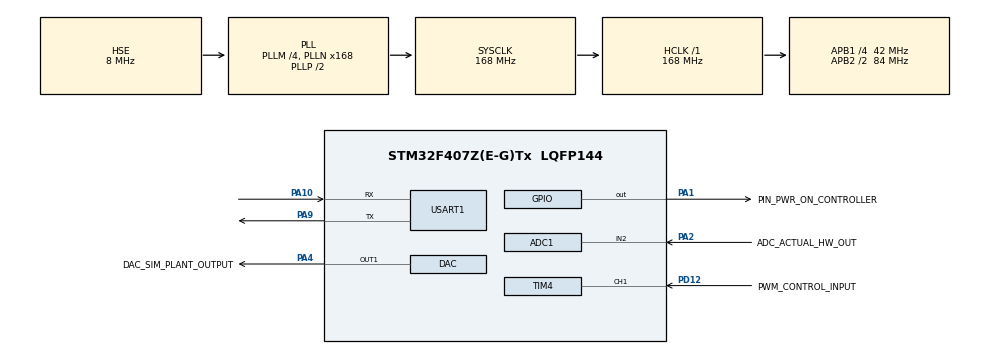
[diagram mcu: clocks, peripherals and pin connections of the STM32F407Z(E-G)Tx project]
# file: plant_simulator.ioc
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ADC1.Channel-0\#ChannelRegularConversion=ADC_CHANNEL_2
ADC1.ClockPrescaler=ADC_CLOCK_SYNC_PCLK_DIV8
ADC1.ContinuousConvMode=ENABLE
ADC1.DMAContinuousRequests=ENABLE
ADC1.NbrOfConversionFlag=1
ADC1.Rank-0\#ChannelRegularConversion=1
ADC1.SamplingTime-0\#ChannelRegularConversion=ADC_SAMPLETIME_56CYCLES
ADC1.master=1
DAC.DAC_Trigger=DAC_TRIGGER_T6_TRGO
Dma.ADC1.1.Direction=DMA_PERIPH_TO_MEMORY
Dma.ADC1.1.FIFOMode=DMA_FIFOMODE_DISABLE
Dma.ADC1.1.Instance=DMA2_Stream0
Dma.ADC1.1.MemDataAlignment=DMA_MDATAALIGN_HALFWORD
Dma.ADC1.1.MemInc=DMA_MINC_ENABLE
Dma.ADC1.1.Mode=DMA_CIRCULAR
Dma.ADC1.1.PeriphDataAlignment=DMA_PDATAALIGN_HALFWORD
Dma.ADC1.1.PeriphInc=DMA_PINC_DISABLE
Dma.ADC1.1.Priority=DMA_PRIORITY_LOW
Dma.DAC1.2.Direction=DMA_MEMORY_TO_PERIPH
Dma.DAC1.2.FIFOMode=DMA_FIFOMODE_DISABLE
Dma.DAC1.2.Instance=DMA1_Stream5
Dma.DAC1.2.MemDataAlignment=DMA_MDATAALIGN_HALFWORD
Dma.DAC1.2.MemInc=DMA_MINC_ENABLE
Dma.DAC1.2.Mode=DMA_CIRCULAR
Dma.DAC1.2.PeriphDataAlignment=DMA_PDATAALIGN_HALFWORD
Dma.DAC1.2.PeriphInc=DMA_PINC_DISABLE
Dma.DAC1.2.Priority=DMA_PRIORITY_LOW
Dma.Request0=TIM4_CH2
Dma.Request1=ADC1
Dma.Request2=DAC1
Dma.Request3=USART1_RX
Dma.Request4=USART1_TX
Dma.TIM4_CH2.0.Direction=DMA_PERIPH_TO_MEMORY
Dma.TIM4_CH2.0.FIFOMode=DMA_FIFOMODE_DISABLE
Dma.TIM4_CH2.0.Instance=DMA1_Stream3
Dma.TIM4_CH2.0.MemDataAlignment=DMA_MDATAALIGN_HALFWORD
Dma.TIM4_CH2.0.MemInc=DMA_MINC_ENABLE
Dma.TIM4_CH2.0.Mode=DMA_CIRCULAR
Dma.TIM4_CH2.0.PeriphDataAlignment=DMA_PDATAALIGN_HALFWORD
Dma.TIM4_CH2.0.PeriphInc=DMA_PINC_DISABLE
Dma.TIM4_CH2.0.Priority=DMA_PRIORITY_LOW
Dma.USART1_RX.3.Direction=DMA_PERIPH_TO_MEMORY
Dma.USART1_RX.3.FIFOMode=DMA_FIFOMODE_DISABLE
Dma.USART1_RX.3.Instance=DMA2_Stream2
Dma.USART1_RX.3.MemDataAlignment=DMA_MDATAALIGN_BYTE
Dma.USART1_RX.3.MemInc=DMA_MINC_ENABLE
Dma.USART1_RX.3.Mode=DMA_CIRCULAR
Dma.USART1_RX.3.PeriphDataAlignment=DMA_PDATAALIGN_BYTE
Dma.USART1_RX.3.PeriphInc=DMA_PINC_DISABLE
Dma.USART1_RX.3.Priority=DMA_PRIORITY_LOW
Dma.USART1_TX.4.Direction=DMA_MEMORY_TO_PERIPH
Dma.USART1_TX.4.FIFOMode=DMA_FIFOMODE_DISABLE
Dma.USART1_TX.4.Instance=DMA2_Stream7
Dma.USART1_TX.4.MemDataAlignment=DMA_MDATAALIGN_BYTE
Dma.USART1_TX.4.MemInc=DMA_MINC_ENABLE
Dma.USART1_TX.4.Mode=DMA_NORMAL
Dma.USART1_TX.4.PeriphDataAlignment=DMA_PDATAALIGN_BYTE
Dma.USART1_TX.4.PeriphInc=DMA_PINC_DISABLE
Dma.USART1_TX.4.Priority=DMA_PRIORITY_LOW
Mcu.Family=STM32F4
Mcu.Name=STM32F407Z(E-G)Tx
Mcu.Package=LQFP144
Mcu.UserConstants=PWM_COUNTER_PERIOD,1000-1
NVIC.DMA1_Stream3_IRQn=true\:0\:0\:false\:false\:true\:false\:true\:true
NVIC.DMA1_Stream5_IRQn=true\:0\:0\:false\:false\:true\:false\:true\:true
NVIC.DMA2_Stream0_IRQn=true\:0\:0\:false\:false\:true\:false\:true\:true
NVIC.DMA2_Stream2_IRQn=true\:0\:0\:false\:false\:true\:false\:true\:true
NVIC.DMA2_Stream7_IRQn=true\:0\:0\:false\:false\:true\:false\:true\:true
NVIC.PriorityGroup=NVIC_PRIORITYGROUP_4
NVIC.TIM2_IRQn=true\:0\:0\:false\:false\:true\:true\:true\:true
NVIC.USART1_IRQn=true\:0\:0\:false\:false\:true\:true\:true\:true
PA1.GPIO_Label=PIN_PWR_ON_CONTROLLER
PA1.GPIO_ModeDefaultOutputPP=GPIO_MODE_OUTPUT_OD
PA1.GPIO_PuPd=GPIO_NOPULL
PA1.Signal=GPIO_Output
PA10.Mode=Asynchronous
PA10.Signal=USART1_RX
PA13.Mode=Serial_Wire
PA13.Signal=SYS_JTMS-SWDIO
PA14.Mode=Serial_Wire
PA14.Signal=SYS_JTCK-SWCLK
PA2.GPIO_Label=ADC_ACTUAL_HW_OUT
PA2.Signal=ADCx_IN2
PA4.GPIO_Label=DAC_SIM_PLANT_OUTPUT
PA4.Signal=COMP_DAC1_group
PA9.Mode=Asynchronous
PA9.Signal=USART1_TX
PD12.GPIO_Label=PWM_CONTROL_INPUT
PD12.Signal=S_TIM4_CH1
PH0-OSC_IN.Mode=HSE-External-Oscillator
PH0-OSC_IN.Signal=RCC_OSC_IN
PH1-OSC_OUT.Mode=HSE-External-Oscillator
PH1-OSC_OUT.Signal=RCC_OSC_OUT
ProjectManager.HeapSize=0x200
ProjectManager.StackSize=0x400
ProjectManager.TargetToolchain=STM32CubeIDE
RCC.48MHZClocksFreq_Value=84000000
RCC.AHBFreq_Value=168000000
RCC.APB1CLKDivider=RCC_HCLK_DIV4
RCC.APB1Freq_Value=42000000
RCC.APB1TimFreq_Value=84000000
RCC.APB2CLKDivider=RCC_HCLK_DIV2
RCC.APB2Freq_Value=84000000
RCC.APB2TimFreq_Value=168000000
RCC.CortexFreq_Value=168000000
RCC.HCLKFreq_Value=168000000
RCC.HSE_VALUE=8000000
RCC.HSI_VALUE=16000000
RCC.LSE_VALUE=32768
RCC.PLLM=4
RCC.PLLN=168
RCC.PLLSourceVirtual=RCC_PLLSOURCE_HSE
RCC.SYSCLKFreq_VALUE=168000000
RCC.SYSCLKSource=RCC_SYSCLKSOURCE_PLLCLK
RCC.VCOOutputFreq_Value=336000000
SH.ADCx_IN2.0=ADC1_IN2,IN2
SH.COMP_DAC1_group.0=DAC_OUT1,DAC_OUT1
SH.S_TIM4_CH1.0=TIM4_CH1,TriggerSource_TI1FP1
SH.S_TIM4_CH1.1=TIM4_CH1,Input_Capture1_from_TI1
TIM2.Period=25000-1
TIM2.Prescaler=84-1
TIM4.Channel-Input_Capture1_from_TI1=TIM_CHANNEL_1
TIM4.Channel-Input_Capture2_from_TI1_63=TIM_CHANNEL_2
TIM4.ICPolarity_CH2=TIM_INPUTCHANNELPOLARITY_FALLING
TIM4.Prescaler=84-1
TIM6.Period=100-1
TIM6.Prescaler=16-1
TIM6.TIM_MasterOutputTrigger=TIM_TRGO_UPDATE
USART1.VirtualMode=VM_ASYNC
VP_TIM2_VS_ClockSourceINT.Mode=Internal
VP_TIM4_VS_ClockSourceINT.Mode=Internal
VP_TIM4_VS_ControllerModeReset.Mode=Reset Mode
VP_TIM4_VS_indirect_ch1.Mode=Input_Capture2_from_TI1_63
VP_TIM6_VS_ClockSourceINT.Mode=Enable_Timer
board=custom

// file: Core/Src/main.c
/* USER CODE BEGIN Header */
/**
  ******************************************************************************
  * @file           : main.c
  * @brief          : Main program body
  ******************************************************************************
  * @attention
  *
  * Copyright (c) 2025 STMicroelectronics.
  * All rights reserved.
  *
  * This software is licensed under terms that can be found in the LICENSE file
  * in the root directory of this software component.
  * If no LICENSE file comes with this software, it is provided AS-IS.
  *
  ******************************************************************************
  */
/* USER CODE END Header */
#include "main.h"

/* USER CODE BEGIN Includes */
#include "string.h"
#include "PlantModel.h"
/* USER CODE END Includes */

/* USER CODE BEGIN PTD */
#define UART_BUF_SIZE 4
#define UART_NUM_DATA 2
#define DMA_UART_TX_BUF_SIZE (UART_NUM_DATA*UART_BUF_SIZE + 2)

typedef union {
  float single;
  uint8_t bytes[UART_BUF_SIZE];
} Float_t;
/* USER CODE END PTD */

/* USER CODE BEGIN PD */
#define ADC_DMA_BUF_SIZE 1
#define VOLT_REF 3.33f
#define VOLT_TO_DATA12  (0xfff/VOLT_REF)
#define DATA12_TO_VOLT (VOLT_REF/0xfff)
#define PWM_DUTY_TO_VOLT (VOLT_REF / (PWM_COUNTER_PERIOD))
/* USER CODE END PD */

ADC_HandleTypeDef hadc1;
DMA_HandleTypeDef hdma_adc1;

DAC_HandleTypeDef hdac;
DMA_HandleTypeDef hdma_dac1;

TIM_HandleTypeDef htim2;
TIM_HandleTypeDef htim4;
TIM_HandleTypeDef htim6;
DMA_HandleTypeDef hdma_tim4_ch2;

UART_HandleTypeDef huart1;
DMA_HandleTypeDef hdma_usart1_rx;
DMA_HandleTypeDef hdma_usart1_tx;

/* USER CODE BEGIN PV */
uint16_t dma_pwm_in_duty = 0;

uint16_t dma_dac_analog_sensor = 0;
uint16_t dma_adc_actual_hw_out = 0;

uint8_t dma_uart_tx_buf[DMA_UART_TX_BUF_SIZE] = { 'S', 0, 0, 0, 0, 0, 0, 0, 0, '\n' };
uint8_t uart_buf[UART_BUF_SIZE] = { 0 };
int uart_rx_flag = 0;

Float_t sim_serial_input1; // HIL Plant Model output
Float_t sim_serial_input2; // Actual Hardware output
Float_t sim_serial_output;
/* USER CODE END PV */

void SystemClock_Config(void);
static void MX_GPIO_Init(void);
static void MX_DMA_Init(void);
static void MX_TIM2_Init(void);
static void MX_TIM4_Init(void);
static void MX_ADC1_Init(void);
static void MX_DAC_Init(void);
static void MX_TIM6_Init(void);
static void MX_USART1_UART_Init(void);

int main(void)
{

  /* MCU Configuration--------------------------------------------------------*/

  /* Reset of all peripherals, Initializes the Flash interface and the Systick. */
  HAL_Init();

  /* Configure the system clock */
  SystemClock_Config();

  /* Initialize all configured peripherals */
  MX_GPIO_Init();
  MX_DMA_Init();
  MX_TIM2_Init();
  MX_TIM4_Init();
  MX_ADC1_Init();
  MX_DAC_Init();
  MX_TIM6_Init();
  MX_USART1_UART_Init();
  /* USER CODE BEGIN 2 */
  PlantModel_initialize();

  HAL_TIM_Base_Start(&htim6);
  HAL_DAC_Start_DMA(&hdac, DAC_CHANNEL_1, (uint32_t*) &dma_dac_analog_sensor, (uint32_t) 1, DAC_ALIGN_12B_R);
  HAL_ADC_Start_DMA(&hadc1, (uint32_t*) &dma_adc_actual_hw_out, (uint32_t) 1);
  HAL_UART_Receive_DMA(&huart1, sim_serial_output.bytes, UART_BUF_SIZE);
  HAL_TIM_IC_Start_DMA(&htim4, TIM_CHANNEL_2, (uint32_t*) &dma_pwm_in_duty, (uint32_t) 1);

//  HAL_Delay(5000);
  while (!uart_rx_flag);
  sim_serial_input1.single = 0.f;
  memcpy(dma_uart_tx_buf+1, sim_serial_input1.bytes, UART_BUF_SIZE*sizeof(dma_uart_tx_buf[0]));
  HAL_UART_Transmit_DMA(&huart1, dma_uart_tx_buf, DMA_UART_TX_BUF_SIZE);

  dma_dac_analog_sensor = VOLT_TO_DATA12*sim_serial_output.single;
  HAL_TIM_Base_Start_IT(&htim2);
  HAL_GPIO_WritePin(PIN_PWR_ON_CONTROLLER_GPIO_Port, PIN_PWR_ON_CONTROLLER_Pin, GPIO_PIN_SET);
  /* USER CODE END 2 */

  /* Infinite loop */
  while (1)
  {

  }
}

void SystemClock_Config(void)
{
  RCC_OscInitTypeDef RCC_OscInitStruct = {0};
  RCC_ClkInitTypeDef RCC_ClkInitStruct = {0};

  /** Configure the main internal regulator output voltage
  */
  __HAL_RCC_PWR_CLK_ENABLE();
  __HAL_PWR_VOLTAGESCALING_CONFIG(PWR_REGULATOR_VOLTAGE_SCALE1);

  /** Initializes the RCC Oscillators according to the specified parameters
  * in the RCC_OscInitTypeDef structure.
  */
  RCC_OscInitStruct.OscillatorType = RCC_OSCILLATORTYPE_HSE;
  RCC_OscInitStruct.HSEState = RCC_HSE_ON;
  RCC_OscInitStruct.PLL.PLLState = RCC_PLL_ON;
  RCC_OscInitStruct.PLL.PLLSource = RCC_PLLSOURCE_HSE;
  RCC_OscInitStruct.PLL.PLLM = 4;
  RCC_OscInitStruct.PLL.PLLN = 168;
  RCC_OscInitStruct.PLL.PLLP = RCC_PLLP_DIV2;
  RCC_OscInitStruct.PLL.PLLQ = 4;
  if (HAL_RCC_OscConfig(&RCC_OscInitStruct) != HAL_OK)
  {
    Error_Handler();
  }

  /** Initializes the CPU, AHB and APB buses clocks
  */
  RCC_ClkInitStruct.ClockType = RCC_CLOCKTYPE_HCLK|RCC_CLOCKTYPE_SYSCLK
                              |RCC_CLOCKTYPE_PCLK1|RCC_CLOCKTYPE_PCLK2;
  RCC_ClkInitStruct.SYSCLKSource = RCC_SYSCLKSOURCE_PLLCLK;
  RCC_ClkInitStruct.AHBCLKDivider = RCC_SYSCLK_DIV1;
  RCC_ClkInitStruct.APB1CLKDivider = RCC_HCLK_DIV4;
  RCC_ClkInitStruct.APB2CLKDivider = RCC_HCLK_DIV2;

  if (HAL_RCC_ClockConfig(&RCC_ClkInitStruct, FLASH_LATENCY_5) != HAL_OK)
  {
    Error_Handler();
  }
}

static void MX_ADC1_Init(void)
{

  ADC_ChannelConfTypeDef sConfig = {0};

  /** Configure the global features of the ADC (Clock, Resolution, Data Alignment and number of conversion)
  */
  hadc1.Instance = ADC1;
  hadc1.Init.ClockPrescaler = ADC_CLOCK_SYNC_PCLK_DIV8;
  hadc1.Init.Resolution = ADC_RESOLUTION_12B;
  hadc1.Init.ScanConvMode = DISABLE;
  hadc1.Init.ContinuousConvMode = ENABLE;
  hadc1.Init.DiscontinuousConvMode = DISABLE;
  hadc1.Init.ExternalTrigConvEdge = ADC_EXTERNALTRIGCONVEDGE_NONE;
  hadc1.Init.ExternalTrigConv = ADC_SOFTWARE_START;
  hadc1.Init.DataAlign = ADC_DATAALIGN_RIGHT;
  hadc1.Init.NbrOfConversion = 1;
  hadc1.Init.DMAContinuousRequests = ENABLE;
  hadc1.Init.EOCSelection = ADC_EOC_SINGLE_CONV;
  if (HAL_ADC_Init(&hadc1) != HAL_OK)
  {
    Error_Handler();
  }

  /** Configure for the selected ADC regular channel its corresponding rank in the sequencer and its sample time.
  */
  sConfig.Channel = ADC_CHANNEL_2;
  sConfig.Rank = 1;
  sConfig.SamplingTime = ADC_SAMPLETIME_56CYCLES;
  if (HAL_ADC_ConfigChannel(&hadc1, &sConfig) != HAL_OK)
  {
    Error_Handler();
  }

}

static void MX_DAC_Init(void)
{

  DAC_ChannelConfTypeDef sConfig = {0};

  /** DAC Initialization
  */
  hdac.Instance = DAC;
  if (HAL_DAC_Init(&hdac) != HAL_OK)
  {
    Error_Handler();
  }

  /** DAC channel OUT1 config
  */
  sConfig.DAC_Trigger = DAC_TRIGGER_T6_TRGO;
  sConfig.DAC_OutputBuffer = DAC_OUTPUTBUFFER_ENABLE;
  if (HAL_DAC_ConfigChannel(&hdac, &sConfig, DAC_CHANNEL_1) != HAL_OK)
  {
    Error_Handler();
  }

}

static void MX_TIM2_Init(void)
{

  TIM_ClockConfigTypeDef sClockSourceConfig = {0};
  TIM_MasterConfigTypeDef sMasterConfig = {0};

  htim2.Instance = TIM2;
  htim2.Init.Prescaler = 84-1;
  htim2.Init.CounterMode = TIM_COUNTERMODE_UP;
  htim2.Init.Period = 25000-1;
  htim2.Init.ClockDivision = TIM_CLOCKDIVISION_DIV1;
  htim2.Init.AutoReloadPreload = TIM_AUTORELOAD_PRELOAD_DISABLE;
  if (HAL_TIM_Base_Init(&htim2) != HAL_OK)
  {
    Error_Handler();
  }
  sClockSourceConfig.ClockSource = TIM_CLOCKSOURCE_INTERNAL;
  if (HAL_TIM_ConfigClockSource(&htim2, &sClockSourceConfig) != HAL_OK)
  {
    Error_Handler();
  }
  sMasterConfig.MasterOutputTrigger = TIM_TRGO_RESET;
  sMasterConfig.MasterSlaveMode = TIM_MASTERSLAVEMODE_DISABLE;
  if (HAL_TIMEx_MasterConfigSynchronization(&htim2, &sMasterConfig) != HAL_OK)
  {
    Error_Handler();
  }

}

static void MX_TIM4_Init(void)
{

  TIM_ClockConfigTypeDef sClockSourceConfig = {0};
  TIM_SlaveConfigTypeDef sSlaveConfig = {0};
  TIM_MasterConfigTypeDef sMasterConfig = {0};
  TIM_IC_InitTypeDef sConfigIC = {0};

  htim4.Instance = TIM4;
  htim4.Init.Prescaler = 84-1;
  htim4.Init.CounterMode = TIM_COUNTERMODE_UP;
  htim4.Init.Period = 65535;
  htim4.Init.ClockDivision = TIM_CLOCKDIVISION_DIV1;
  htim4.Init.AutoReloadPreload = TIM_AUTORELOAD_PRELOAD_DISABLE;
  if (HAL_TIM_Base_Init(&htim4) != HAL_OK)
  {
    Error_Handler();
  }
  sClockSourceConfig.ClockSource = TIM_CLOCKSOURCE_INTERNAL;
  if (HAL_TIM_ConfigClockSource(&htim4, &sClockSourceConfig) != HAL_OK)
  {
    Error_Handler();
  }
  if (HAL_TIM_IC_Init(&htim4) != HAL_OK)
  {
    Error_Handler();
  }
  sSlaveConfig.SlaveMode = TIM_SLAVEMODE_RESET;
  sSlaveConfig.InputTrigger = TIM_TS_TI1FP1;
  sSlaveConfig.TriggerPolarity = TIM_INPUTCHANNELPOLARITY_RISING;
  sSlaveConfig.TriggerFilter = 0;
  if (HAL_TIM_SlaveConfigSynchro(&htim4, &sSlaveConfig) != HAL_OK)
  {
    Error_Handler();
  }
  sMasterConfig.MasterOutputTrigger = TIM_TRGO_RESET;
  sMasterConfig.MasterSlaveMode = TIM_MASTERSLAVEMODE_DISABLE;
  if (HAL_TIMEx_MasterConfigSynchronization(&htim4, &sMasterConfig) != HAL_OK)
  {
    Error_Handler();
  }
  sConfigIC.ICPolarity = TIM_INPUTCHANNELPOLARITY_RISING;
  sConfigIC.ICSelection = TIM_ICSELECTION_DIRECTTI;
  sConfigIC.ICPrescaler = TIM_ICPSC_DIV1;
  sConfigIC.ICFilter = 0;
  if (HAL_TIM_IC_ConfigChannel(&htim4, &sConfigIC, TIM_CHANNEL_1) != HAL_OK)
  {
    Error_Handler();
  }
  sConfigIC.ICPolarity = TIM_INPUTCHANNELPOLARITY_FALLING;
  sConfigIC.ICSelection = TIM_ICSELECTION_INDIRECTTI;
  if (HAL_TIM_IC_ConfigChannel(&htim4, &sConfigIC, TIM_CHANNEL_2) != HAL_OK)
  {
    Error_Handler();
  }

}

static void MX_TIM6_Init(void)
{

  TIM_MasterConfigTypeDef sMasterConfig = {0};

  htim6.Instance = TIM6;
  htim6.Init.Prescaler = 16-1;
  htim6.Init.CounterMode = TIM_COUNTERMODE_UP;
  htim6.Init.Period = 100-1;
  htim6.Init.AutoReloadPreload = TIM_AUTORELOAD_PRELOAD_DISABLE;
  if (HAL_TIM_Base_Init(&htim6) != HAL_OK)
  {
    Error_Handler();
  }
  sMasterConfig.MasterOutputTrigger = TIM_TRGO_UPDATE;
  sMasterConfig.MasterSlaveMode = TIM_MASTERSLAVEMODE_DISABLE;
  if (HAL_TIMEx_MasterConfigSynchronization(&htim6, &sMasterConfig) != HAL_OK)
  {
    Error_Handler();
  }

}

static void MX_USART1_UART_Init(void)
{

  huart1.Instance = USART1;
  huart1.Init.BaudRate = 115200;
  huart1.Init.WordLength = UART_WORDLENGTH_8B;
  huart1.Init.StopBits = UART_STOPBITS_1;
  huart1.Init.Parity = UART_PARITY_NONE;
  huart1.Init.Mode = UART_MODE_TX_RX;
  huart1.Init.HwFlowCtl = UART_HWCONTROL_NONE;
  huart1.Init.OverSampling = UART_OVERSAMPLING_16;
  if (HAL_UART_Init(&huart1) != HAL_OK)
  {
    Error_Handler();
  }

}

static void MX_DMA_Init(void)
{

  /* DMA controller clock enable */
  __HAL_RCC_DMA1_CLK_ENABLE();
  __HAL_RCC_DMA2_CLK_ENABLE();

  /* DMA interrupt init */
  /* DMA1_Stream3_IRQn interrupt configuration */
  HAL_NVIC_SetPriority(DMA1_Stream3_IRQn, 0, 0);
  HAL_NVIC_EnableIRQ(DMA1_Stream3_IRQn);
  /* DMA1_Stream5_IRQn interrupt configuration */
  HAL_NVIC_SetPriority(DMA1_Stream5_IRQn, 0, 0);
  HAL_NVIC_EnableIRQ(DMA1_Stream5_IRQn);
  /* DMA2_Stream0_IRQn interrupt configuration */
  HAL_NVIC_SetPriority(DMA2_Stream0_IRQn, 0, 0);
  HAL_NVIC_EnableIRQ(DMA2_Stream0_IRQn);
  /* DMA2_Stream2_IRQn interrupt configuration */
  HAL_NVIC_SetPriority(DMA2_Stream2_IRQn, 0, 0);
  HAL_NVIC_EnableIRQ(DMA2_Stream2_IRQn);
  /* DMA2_Stream7_IRQn interrupt configuration */
  HAL_NVIC_SetPriority(DMA2_Stream7_IRQn, 0, 0);
  HAL_NVIC_EnableIRQ(DMA2_Stream7_IRQn);

}

static void MX_GPIO_Init(void)
{
  GPIO_InitTypeDef GPIO_InitStruct = {0};

  /* GPIO Ports Clock Enable */
  __HAL_RCC_GPIOH_CLK_ENABLE();
  __HAL_RCC_GPIOA_CLK_ENABLE();
  __HAL_RCC_GPIOD_CLK_ENABLE();

  /*Configure GPIO pin Output Level */
  HAL_GPIO_WritePin(PIN_PWR_ON_CONTROLLER_GPIO_Port, PIN_PWR_ON_CONTROLLER_Pin, GPIO_PIN_RESET);

  /*Configure GPIO pin : PIN_PWR_ON_CONTROLLER_Pin */
  GPIO_InitStruct.Pin = PIN_PWR_ON_CONTROLLER_Pin;
  GPIO_InitStruct.Mode = GPIO_MODE_OUTPUT_OD;
  GPIO_InitStruct.Pull = GPIO_NOPULL;
  GPIO_InitStruct.Speed = GPIO_SPEED_FREQ_LOW;
  HAL_GPIO_Init(PIN_PWR_ON_CONTROLLER_GPIO_Port, &GPIO_InitStruct);

}

/* USER CODE BEGIN 4 */
void HAL_UART_RxCpltCallback(UART_HandleTypeDef *huart) {
	if (huart->Instance == huart1.Instance) {
		uart_rx_flag = 1;
	}
}

void HAL_TIM_PeriodElapsedCallback(TIM_HandleTypeDef *htim) {
	static int t = 0;
	if (htim->Instance == htim2.Instance) {
		if (t++ > 0) {
			t = 0;

			PlantModel_U.u = PWM_DUTY_TO_VOLT*dma_pwm_in_duty;
			PlantModel_step();
			dma_dac_analog_sensor = VOLT_TO_DATA12*PlantModel_Y.y;

			sim_serial_input1.single = PlantModel_Y.y;
			sim_serial_input2.single = DATA12_TO_VOLT*dma_adc_actual_hw_out;
			memcpy(dma_uart_tx_buf+1+0*UART_BUF_SIZE, sim_serial_input1.bytes, UART_BUF_SIZE*sizeof(dma_uart_tx_buf[0]));
			memcpy(dma_uart_tx_buf+1+1*UART_BUF_SIZE, sim_serial_input2.bytes, UART_BUF_SIZE*sizeof(dma_uart_tx_buf[0]));
			HAL_UART_Transmit_DMA(&huart1, dma_uart_tx_buf, DMA_UART_TX_BUF_SIZE);
		}
	}
}
/* USER CODE END 4 */

void Error_Handler(void)
{
  __disable_irq();
  while (1)
  {
  }
}
